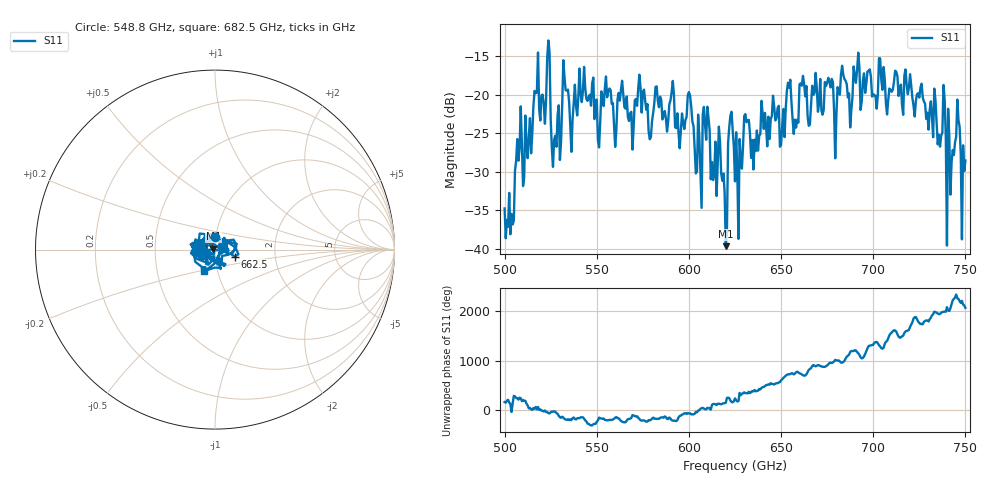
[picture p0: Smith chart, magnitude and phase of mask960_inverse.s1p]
!Created with skrf (http://scikit-rf.org).
# GHz S MA R 50.0
!freq magS11 angS11
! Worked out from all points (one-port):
!   401 points, 500 GHz to 750 GHz, reference 50 ohm
!   lowest |S11| = -39.7 dB at 620 GHz (marker M1), VSWR 1.02, Z = 49.1 + j0.462 ohm
!   |S11| at or under -10 dB: start of sweep to end of sweep
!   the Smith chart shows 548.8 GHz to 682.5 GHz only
!   S11 on the Smith chart (normalised r, x): 548.8 GHz: 0.99, +0.14; 662.5 GHz: 1.25, -0.10; 682.5 GHz: 0.86, -0.21
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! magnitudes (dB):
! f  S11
! 500 GHz  -34.8
! 504.4 GHz  -36.8
! 516.9 GHz  -19.8
! 523.8 GHz  -12.9
! 526.9 GHz  -25.8
! 531.2 GHz  -21.3
! 548.8 GHz  -23.1
! 562.5 GHz  -20.8
! 579.4 GHz  -25.5
! 590.6 GHz  -19.6
! 593.8 GHz  -22.4
! 600.6 GHz  -20.1
! 605.6 GHz  -25.4
! 609.4 GHz  -25.8
! 620 GHz  -39.7
! 622.5 GHz  -22.7
! 625 GHz  -31.3
! 656.2 GHz  -23.1
! 662.5 GHz  -18.5
! 680 GHz  -22.7
! 682.5 GHz  -17.3
! 687.5 GHz  -24.2
! 690.6 GHz  -18.4
! 718.8 GHz  -19.9
! 738.1 GHz  -18.7
! 741.2 GHz  -25.3
! 745.6 GHz  -20.6
! 750 GHz  -28.5
